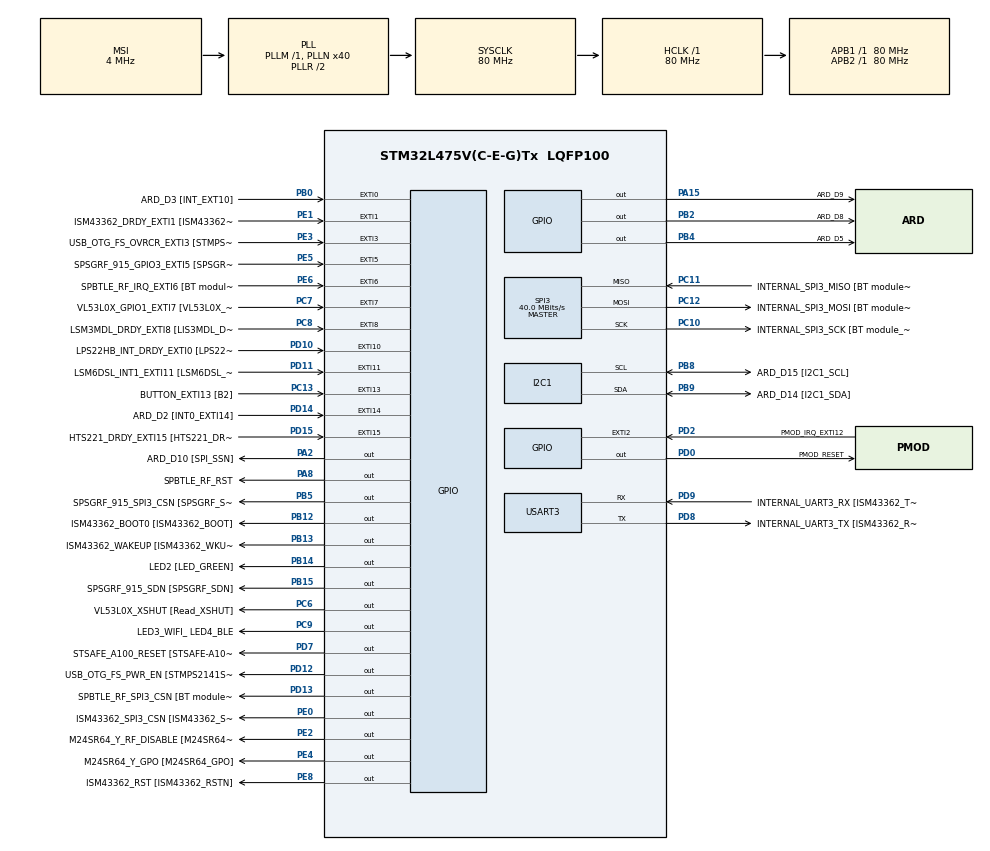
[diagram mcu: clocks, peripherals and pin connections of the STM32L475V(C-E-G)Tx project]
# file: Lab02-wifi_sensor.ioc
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I2C1.Timing=0x10D19CE4
Mcu.Family=STM32L4
Mcu.Name=STM32L475V(C-E-G)Tx
Mcu.Package=LQFP100
NVIC.EXTI15_10_IRQn=true\:0\:0\:false\:false\:true\:true\:true\:true
NVIC.EXTI1_IRQn=true\:0\:0\:false\:false\:true\:true\:true\:true
NVIC.EXTI9_5_IRQn=true\:0\:0\:false\:false\:true\:true\:true\:true
NVIC.PriorityGroup=NVIC_PRIORITYGROUP_4
NVIC.SPI3_IRQn=true\:0\:0\:false\:false\:true\:true\:true\:true
PA0.GPIO_Label=ARD_D1 [UART4_TX]
PA0.Signal=UART4_TX
PA1.GPIO_Label=ARD_D0 [UART4_RX]
PA1.Signal=UART4_RX
PA10.GPIO_Label=USB_OTG_FS_ID
PA10.Signal=USB_OTG_FS_ID
PA11.GPIO_Label=USB_OTG_FS_DM
PA11.Signal=USB_OTG_FS_DM
PA12.GPIO_Label=USB_OTG_FS_DP
PA12.Signal=USB_OTG_FS_DP
PA13\ (JTMS-SWDIO).GPIO_Label=SYS_JTMS_SWDIO
PA13\ (JTMS-SWDIO).Signal=SYS_JTMS-SWDIO
PA14\ (JTCK-SWCLK).GPIO_Label=SYS_JTCK_SWCLK
PA14\ (JTCK-SWCLK).Signal=SYS_JTCK-SWCLK
PA15\ (JTDI).GPIO_Label=ARD_D9
PA15\ (JTDI).Signal=GPIO_Output
PA2.GPIO_Label=ARD_D10 [SPI_SSN]
PA2.Signal=GPIO_Output
PA3.GPIO_Label=ARD_D4
PA3.Signal=S_TIM2_CH4
PA4.GPIO_Label=ARD_D7
PA4.Signal=ADCx_IN9
PA5.GPIO_Label=ARD_D13 [SPI1_SCK]
PA5.Signal=SPI1_SCK
PA6.GPIO_Label=ARD_D12 [SPI1_MISO]
PA6.Signal=SPI1_MISO
PA7.GPIO_Label=ARD_D11 [SPI1_MOSI]
PA7.Signal=SPI1_MOSI
PA8.GPIO_Label=SPBTLE_RF_RST
PA8.Signal=GPIO_Output
PA9.GPIO_Label=USB_OTG_FS_VBUS [STMPS2141STR_OUT]
PA9.Signal=USB_OTG_FS_VBUS
PB0.GPIO_Label=ARD_D3 [INT_EXT10]
PB0.Signal=GPXTI0
PB1.GPIO_Label=ARD_D6 [ADC1_IN6]
PB1.Signal=ADCx_IN16
PB10.GPIO_Label=INTERNAL_I2C2_SCL [VL53L0X_SCL]
PB10.Signal=I2C2_SCL
PB11.GPIO_Label=INTERNAL_I2C2_SDA [VL53L0X_SDA]
PB11.Signal=I2C2_SDA
PB12.GPIO_Label=ISM43362_BOOT0 [ISM43362_BOOT]
PB12.Signal=GPIO_Output
PB13.GPIO_Label=ISM43362_WAKEUP [ISM43362_WKUP]
PB13.Signal=GPIO_Output
PB14.GPIO_Label=LED2 [LED_GREEN]
PB14.Signal=GPIO_Output
PB15.GPIO_Label=SPSGRF_915_SDN [SPSGRF_SDN]
PB15.Signal=GPIO_Output
PB2.GPIO_Label=ARD_D8
PB2.Signal=GPIO_Output
PB3\ (JTDO-TRACESWO).GPIO_Label=SYS_JTD0_SWO
PB3\ (JTDO-TRACESWO).Signal=SYS_JTDO-SWO
PB4\ (NJTRST).GPIO_Label=ARD_D5
PB4\ (NJTRST).Signal=GPIO_Output
PB5.GPIO_Label=SPSGRF_915_SPI3_CSN [SPSGRF_SPI_CS]
PB5.PinState=GPIO_PIN_SET
PB5.Signal=GPIO_Output
PB6.GPIO_Label=ST_LINK_UART1_TX
PB6.Signal=USART1_TX
PB7.GPIO_Label=ST_LINK_UART1_RX
PB7.Signal=USART1_RX
PB8.GPIO_Label=ARD_D15 [I2C1_SCL]
PB8.Mode=I2C
PB8.Signal=I2C1_SCL
PB9.GPIO_Label=ARD_D14 [I2C1_SDA]
PB9.Mode=I2C
PB9.Signal=I2C1_SDA
PC0.GPIO_Label=ARD_A5 [ADC]
PC0.Signal=ADCx_IN1
PC1.GPIO_Label=ARD_A4 [ADC]
PC1.Signal=ADCx_IN2
PC10.GPIO_Label=INTERNAL_SPI3_SCK [BT module_SPI_SCLK] [ISM43362_SCK]
PC10.Mode=Full_Duplex_Master
PC10.Signal=SPI3_SCK
PC11.GPIO_Label=INTERNAL_SPI3_MISO [BT module_SPI_MISO] [ISM43362_MISO]
PC11.Mode=Full_Duplex_Master
PC11.Signal=SPI3_MISO
PC12.GPIO_Label=INTERNAL_SPI3_MOSI [BT module_SPI_MOSI] [ISM43362_MOSI]
PC12.Mode=Full_Duplex_Master
PC12.Signal=SPI3_MOSI
PC13.GPIO_Label=BUTTON_EXTI13 [B2]
PC13.GPIO_ModeDefaultEXTI=GPIO_MODE_IT_FALLING
PC13.GPIO_PuPd=GPIO_NOPULL
PC13.Signal=GPXTI13
PC14-OSC32_IN\ (PC14).Signal=RCC_OSC32_IN
PC15-OSC32_OUT\ (PC15).Signal=RCC_OSC32_OUT
PC2.GPIO_Label=ARD_A3 [ADC]
PC2.Signal=ADCx_IN3
PC3.GPIO_Label=ARD_A2 [ADC]
PC3.Signal=ADCx_IN4
PC4.GPIO_Label=ARD_A1 [ADC]
PC4.Signal=ADCx_IN13
PC5.GPIO_Label=ARD_A0 [ADC]
PC5.Signal=ADCx_IN14
PC6.GPIO_Label=VL53L0X_XSHUT [Read_XSHUT]
PC6.Signal=GPIO_Output
PC7.GPIO_Label=VL53L0X_GPIO1_EXTI7 [VL53L0X_GPIO1]
PC7.Signal=GPXTI7
PC8.GPIO_Label=LSM3MDL_DRDY_EXTI8 [LIS3MDL_DRDY]
PC8.Signal=GPXTI8
PC9.GPIO_Label=LED3_WIFI_ LED4_BLE
PC9.Signal=GPIO_Output
PD0.GPIO_Label=PMOD_RESET
PD0.Signal=GPIO_Output
PD1.GPIO_Label=PMOD_SPI2_SCK
PD1.Signal=SPI2_SCK
PD10.GPIO_Label=LPS22HB_INT_DRDY_EXTI0 [LPS22HB_INT_DRDY] 
PD10.Signal=GPXTI10
PD11.GPIO_Label=LSM6DSL_INT1_EXTI11 [LSM6DSL_INT1]
PD11.Signal=GPXTI11
PD12.GPIO_Label=USB_OTG_FS_PWR_EN [STMPS2141STR_EN]
PD12.Signal=GPIO_Output
PD13.GPIO_Label=SPBTLE_RF_SPI3_CSN [BT module_SPI_CS]
PD13.PinState=GPIO_PIN_SET
PD13.Signal=GPIO_Output
PD14.GPIO_Label=ARD_D2 [INT0_EXTI14]
PD14.Signal=GPXTI14
PD15.GPIO_Label=HTS221_DRDY_EXTI15 [HTS221_DRDY]
PD15.Signal=GPXTI15
PD2.GPIO_Label=PMOD_IRQ_EXTI12
PD2.Signal=GPXTI2
PD3.GPIO_Label=PMOD_UART2_CTS
PD3.Signal=USART2_CTS
PD4.GPIO_Label=PMOD_UART2_RTS
PD4.Signal=USART2_RTS
PD5.GPIO_Label=PMOD_UART2_TX
PD5.Signal=USART2_TX
PD6.GPIO_Label=PMOD_UART2_RX
PD6.Signal=USART2_RX
PD7.GPIO_Label=STSAFE_A100_RESET [STSAFE-A100_RESET]
PD7.Signal=GPIO_Output
PD8.GPIO_Label=INTERNAL_UART3_TX [ISM43362_RX]
PD8.Mode=Asynchronous
PD8.Signal=USART3_TX
PD9.GPIO_Label=INTERNAL_UART3_RX [ISM43362_TX]
PD9.Mode=Asynchronous
PD9.Signal=USART3_RX
PE0.GPIO_Label=ISM43362_SPI3_CSN [ISM43362_SSN]
PE0.PinState=GPIO_PIN_SET
PE0.Signal=GPIO_Output
PE1.GPIO_Label=ISM43362_DRDY_EXTI1 [ISM43362_DATARDY]
PE1.Signal=GPXTI1
PE10.GPIO_Label=QUADSPI_CLK [MX25R6435F_SCLK]
PE10.Signal=QUADSPI_CLK
PE11.GPIO_Label=QUADSPI_NCS [MX25R6435F_SCLK]
PE11.Signal=QUADSPI_NCS
PE12.GPIO_Label=OQUADSPI_BK1_IO0 [MX25R6435F_IO0]
PE12.Signal=QUADSPI_BK1_IO0
PE13.GPIO_Label=QUADSPI_BK1_IO1 [MX25R6435F_IO1]
PE13.Signal=QUADSPI_BK1_IO1
PE14.GPIO_Label=QUAD_SPI_BK1_IO2 [MX25R6435F_IO2]
PE14.Signal=QUADSPI_BK1_IO2
PE15.GPIO_Label=QUAD_SPI_BK1_IO3 [MX25R6435F_IO3]
PE15.Signal=QUADSPI_BK1_IO3
PE2.GPIO_Label=M24SR64_Y_RF_DISABLE [M24SR64_RFDIS]
PE2.Signal=GPIO_Output
PE3.GPIO_Label=USB_OTG_FS_OVRCR_EXTI3 [STMPS2141STR_FAULT]
PE3.Signal=GPXTI3
PE4.GPIO_Label=M24SR64_Y_GPO [M24SR64_GPO]
PE4.Signal=GPIO_Output
PE5.GPIO_Label=SPSGRF_915_GPIO3_EXTI5 [SPSGRF_GPIO_3]
PE5.Signal=GPXTI5
PE6.GPIO_Label=SPBTLE_RF_IRQ_EXTI6 [BT module_SPI_IRQ]
PE6.Signal=GPXTI6
PE7.GPIO_Label=DFSDM1_DATIN2 [MP34DT01_DOUT]
PE7.Signal=S_DATAIN2DFSDM1
PE8.GPIO_Label=ISM43362_RST [ISM43362_RSTN]
PE8.Signal=GPIO_Output
PE9.GPIO_Label=DFSDM1_CKOUT [MP34DT01_CLK]
PE9.Signal=S_CKOUTDFSDM1
ProjectManager.HeapSize=0x200
ProjectManager.StackSize=0x400
ProjectManager.TargetToolchain=STM32CubeIDE
RCC.ADCFreq_Value=48000000
RCC.AHBFreq_Value=80000000
RCC.APB1Freq_Value=80000000
RCC.APB1TimFreq_Value=80000000
RCC.APB2Freq_Value=80000000
RCC.APB2TimFreq_Value=80000000
RCC.CortexFreq_Value=80000000
RCC.HCLKFreq_Value=80000000
RCC.HSE_VALUE=8000000
RCC.HSI_VALUE=16000000
RCC.LSE_VALUE=32768
RCC.MSI_VALUE=4000000
RCC.PLLN=40
RCC.PLLSAI1N=24
RCC.SYSCLKFreq_VALUE=80000000
RCC.SYSCLKSource=RCC_SYSCLKSOURCE_PLLCLK
RCC.USBFreq_Value=48000000
RCC.VCOOutputFreq_Value=160000000
SH.ADCx_IN1.0=ADC1_IN1
SH.ADCx_IN13.0=ADC1_IN13
SH.ADCx_IN14.0=ADC1_IN14
SH.ADCx_IN16.0=ADC1_IN16
SH.ADCx_IN2.0=ADC1_IN2
SH.ADCx_IN3.0=ADC1_IN3
SH.ADCx_IN4.0=ADC1_IN4
SH.ADCx_IN9.0=ADC1_IN9
SH.S_CKOUTDFSDM1.0=DFSDM1_CKOUT
SH.S_DATAIN2DFSDM1.0=DFSDM1_DATIN2
SH.S_TIM2_CH4.0=TIM2_CH4
SPI3.CalculateBaudRate=40.0 MBits/s
SPI3.Direction=SPI_DIRECTION_2LINES
SPI3.Mode=SPI_MODE_MASTER
SPI3.VirtualType=VM_MASTER
USART3.VirtualMode-Asynchronous=VM_ASYNC
board=B-L475E-IOT01A2

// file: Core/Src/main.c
/* USER CODE BEGIN Header */
/**
  ******************************************************************************
  * @file           : main.c
  * @brief          : Main program body
  ******************************************************************************
  * @attention
  *
  * Copyright (c) 2025 STMicroelectronics.
  * All rights reserved.
  *
  * This software is licensed under terms that can be found in the LICENSE file
  * in the root directory of this software component.
  * If no LICENSE file comes with this software, it is provided AS-IS.
  *
  ******************************************************************************
  */
/* USER CODE END Header */
#include "main.h"

/* USER CODE BEGIN PD */
#define TERMINAL_USE
#define SSID     "sallen"
#define PASSWORD "b0c6d1e3"

uint8_t button = 0;
uint8_t wifi_status = -1;
uint8_t RemoteIP[] = {192,168,185,242};
#define RemotePORT	8080

#define WIFI_WRITE_TIMEOUT 10000
#define WIFI_READ_TIMEOUT  10000

#define CONNECTION_TRIAL_MAX          10

#if defined (TERMINAL_USE)
#define TERMOUT(...)  printf(__VA_ARGS__)
#else
#define TERMOUT(...)
#endif

#if defined (TERMINAL_USE)
extern UART_HandleTypeDef hDiscoUart;
#endif /* TERMINAL_USE */
static uint8_t RxData [500];

#if defined (TERMINAL_USE)
#ifdef __GNUC__
/* With GCC, small TERMOUT (option LD Linker->Libraries->Small TERMOUT
   set to 'Yes') calls __io_putchar() */
#define PUTCHAR_PROTOTYPE int __io_putchar(int ch)
#else
#define PUTCHAR_PROTOTYPE int fputc(int ch, FILE *f)
#endif /* __GNUC__ */
#endif /* TERMINAL_USE */
/* USER CODE END PD */

I2C_HandleTypeDef hi2c1;

SPI_HandleTypeDef hspi3;

UART_HandleTypeDef huart3;

void SystemClock_Config(void);
static void MX_GPIO_Init(void);
static void MX_SPI3_Init(void);
static void MX_USART3_UART_Init(void);
static void MX_I2C1_Init(void);

int main(void)
{

  /* USER CODE BEGIN 1 */

	  uint8_t  MAC_Addr[6] = {0};
	  uint8_t  IP_Addr[4] = {0};
	  uint8_t TxData[] = "STM32 : Hello!\n";
	  int32_t Socket = -1;
	  uint16_t Datalen;
	  int32_t ret;
	  int16_t Trials = CONNECTION_TRIAL_MAX;
  /* USER CODE END 1 */

  /* MCU Configuration--------------------------------------------------------*/

  /* Reset of all peripherals, Initializes the Flash interface and the Systick. */
  HAL_Init();

  /* Configure the system clock */
  SystemClock_Config();

  /* Initialize all configured peripherals */
  MX_GPIO_Init();
  MX_SPI3_Init();
  MX_USART3_UART_Init();
  MX_I2C1_Init();
  /* USER CODE BEGIN 2 */

  BSP_LED_Init(LED2);

#if defined (TERMINAL_USE)
  /* Initialize all configured peripherals */
  hDiscoUart.Instance = DISCOVERY_COM1;
  hDiscoUart.Init.BaudRate = 115200;
  hDiscoUart.Init.WordLength = UART_WORDLENGTH_8B;
  hDiscoUart.Init.StopBits = UART_STOPBITS_1;
  hDiscoUart.Init.Parity = UART_PARITY_NONE;
  hDiscoUart.Init.Mode = UART_MODE_TX_RX;
  hDiscoUart.Init.HwFlowCtl = UART_HWCONTROL_NONE;
  hDiscoUart.Init.OverSampling = UART_OVERSAMPLING_16;
  hDiscoUart.Init.OneBitSampling = UART_ONE_BIT_SAMPLE_DISABLE;
  hDiscoUart.AdvancedInit.AdvFeatureInit = UART_ADVFEATURE_NO_INIT;

  BSP_COM_Init(COM1, &hDiscoUart);
#endif /* TERMINAL_USE */

  wifi_status = 'n';
  wifi_status = WIFI_Init();
  wifi_status = 'y';
  /* USER CODE END 2 */

  /* Infinite loop */
  while (1)
  {

  }
}

void SystemClock_Config(void)
{
  RCC_OscInitTypeDef RCC_OscInitStruct = {0};
  RCC_ClkInitTypeDef RCC_ClkInitStruct = {0};

  /** Configure the main internal regulator output voltage
  */
  if (HAL_PWREx_ControlVoltageScaling(PWR_REGULATOR_VOLTAGE_SCALE1) != HAL_OK)
  {
    Error_Handler();
  }

  /** Initializes the RCC Oscillators according to the specified parameters
  * in the RCC_OscInitTypeDef structure.
  */
  RCC_OscInitStruct.OscillatorType = RCC_OSCILLATORTYPE_MSI;
  RCC_OscInitStruct.MSIState = RCC_MSI_ON;
  RCC_OscInitStruct.MSICalibrationValue = 0;
  RCC_OscInitStruct.MSIClockRange = RCC_MSIRANGE_6;
  RCC_OscInitStruct.PLL.PLLState = RCC_PLL_ON;
  RCC_OscInitStruct.PLL.PLLSource = RCC_PLLSOURCE_MSI;
  RCC_OscInitStruct.PLL.PLLM = 1;
  RCC_OscInitStruct.PLL.PLLN = 40;
  RCC_OscInitStruct.PLL.PLLP = RCC_PLLP_DIV7;
  RCC_OscInitStruct.PLL.PLLQ = RCC_PLLQ_DIV2;
  RCC_OscInitStruct.PLL.PLLR = RCC_PLLR_DIV2;
  if (HAL_RCC_OscConfig(&RCC_OscInitStruct) != HAL_OK)
  {
    Error_Handler();
  }

  /** Initializes the CPU, AHB and APB buses clocks
  */
  RCC_ClkInitStruct.ClockType = RCC_CLOCKTYPE_HCLK|RCC_CLOCKTYPE_SYSCLK
                              |RCC_CLOCKTYPE_PCLK1|RCC_CLOCKTYPE_PCLK2;
  RCC_ClkInitStruct.SYSCLKSource = RCC_SYSCLKSOURCE_PLLCLK;
  RCC_ClkInitStruct.AHBCLKDivider = RCC_SYSCLK_DIV1;
  RCC_ClkInitStruct.APB1CLKDivider = RCC_HCLK_DIV1;
  RCC_ClkInitStruct.APB2CLKDivider = RCC_HCLK_DIV1;

  if (HAL_RCC_ClockConfig(&RCC_ClkInitStruct, FLASH_LATENCY_4) != HAL_OK)
  {
    Error_Handler();
  }
}

static void MX_I2C1_Init(void)
{

  hi2c1.Instance = I2C1;
  hi2c1.Init.Timing = 0x10D19CE4;
  hi2c1.Init.OwnAddress1 = 0;
  hi2c1.Init.AddressingMode = I2C_ADDRESSINGMODE_7BIT;
  hi2c1.Init.DualAddressMode = I2C_DUALADDRESS_DISABLE;
  hi2c1.Init.OwnAddress2 = 0;
  hi2c1.Init.OwnAddress2Masks = I2C_OA2_NOMASK;
  hi2c1.Init.GeneralCallMode = I2C_GENERALCALL_DISABLE;
  hi2c1.Init.NoStretchMode = I2C_NOSTRETCH_DISABLE;
  if (HAL_I2C_Init(&hi2c1) != HAL_OK)
  {
    Error_Handler();
  }

  /** Configure Analogue filter
  */
  if (HAL_I2CEx_ConfigAnalogFilter(&hi2c1, I2C_ANALOGFILTER_ENABLE) != HAL_OK)
  {
    Error_Handler();
  }

  /** Configure Digital filter
  */
  if (HAL_I2CEx_ConfigDigitalFilter(&hi2c1, 0) != HAL_OK)
  {
    Error_Handler();
  }

}

static void MX_SPI3_Init(void)
{

  /* SPI3 parameter configuration*/
  hspi3.Instance = SPI3;
  hspi3.Init.Mode = SPI_MODE_MASTER;
  hspi3.Init.Direction = SPI_DIRECTION_2LINES;
  hspi3.Init.DataSize = SPI_DATASIZE_4BIT;
  hspi3.Init.CLKPolarity = SPI_POLARITY_LOW;
  hspi3.Init.CLKPhase = SPI_PHASE_1EDGE;
  hspi3.Init.NSS = SPI_NSS_SOFT;
  hspi3.Init.BaudRatePrescaler = SPI_BAUDRATEPRESCALER_2;
  hspi3.Init.FirstBit = SPI_FIRSTBIT_MSB;
  hspi3.Init.TIMode = SPI_TIMODE_DISABLE;
  hspi3.Init.CRCCalculation = SPI_CRCCALCULATION_DISABLE;
  hspi3.Init.CRCPolynomial = 7;
  hspi3.Init.CRCLength = SPI_CRC_LENGTH_DATASIZE;
  hspi3.Init.NSSPMode = SPI_NSS_PULSE_ENABLE;
  if (HAL_SPI_Init(&hspi3) != HAL_OK)
  {
    Error_Handler();
  }

}

static void MX_USART3_UART_Init(void)
{

  huart3.Instance = USART3;
  huart3.Init.BaudRate = 115200;
  huart3.Init.WordLength = UART_WORDLENGTH_8B;
  huart3.Init.StopBits = UART_STOPBITS_1;
  huart3.Init.Parity = UART_PARITY_NONE;
  huart3.Init.Mode = UART_MODE_TX_RX;
  huart3.Init.HwFlowCtl = UART_HWCONTROL_NONE;
  huart3.Init.OverSampling = UART_OVERSAMPLING_16;
  huart3.Init.OneBitSampling = UART_ONE_BIT_SAMPLE_DISABLE;
  huart3.AdvancedInit.AdvFeatureInit = UART_ADVFEATURE_NO_INIT;
  if (HAL_UART_Init(&huart3) != HAL_OK)
  {
    Error_Handler();
  }

}

static void MX_GPIO_Init(void)
{
  GPIO_InitTypeDef GPIO_InitStruct = {0};

  /* GPIO Ports Clock Enable */
  __HAL_RCC_GPIOE_CLK_ENABLE();
  __HAL_RCC_GPIOC_CLK_ENABLE();
  __HAL_RCC_GPIOA_CLK_ENABLE();
  __HAL_RCC_GPIOB_CLK_ENABLE();
  __HAL_RCC_GPIOD_CLK_ENABLE();

  /*Configure GPIO pin Output Level */
  HAL_GPIO_WritePin(GPIOE, M24SR64_Y_RF_DISABLE_Pin|M24SR64_Y_GPO_Pin|ISM43362_RST_Pin, GPIO_PIN_RESET);

  /*Configure GPIO pin Output Level */
  HAL_GPIO_WritePin(GPIOA, ARD_D10_Pin|SPBTLE_RF_RST_Pin|ARD_D9_Pin, GPIO_PIN_RESET);

  /*Configure GPIO pin Output Level */
  HAL_GPIO_WritePin(GPIOB, ARD_D8_Pin|ISM43362_BOOT0_Pin|ISM43362_WAKEUP_Pin|LED2_Pin
                          |SPSGRF_915_SDN_Pin|ARD_D5_Pin, GPIO_PIN_RESET);

  /*Configure GPIO pin Output Level */
  HAL_GPIO_WritePin(GPIOD, USB_OTG_FS_PWR_EN_Pin|PMOD_RESET_Pin|STSAFE_A100_RESET_Pin, GPIO_PIN_RESET);

  /*Configure GPIO pin Output Level */
  HAL_GPIO_WritePin(SPBTLE_RF_SPI3_CSN_GPIO_Port, SPBTLE_RF_SPI3_CSN_Pin, GPIO_PIN_SET);

  /*Configure GPIO pin Output Level */
  HAL_GPIO_WritePin(GPIOC, VL53L0X_XSHUT_Pin|LED3_WIFI__LED4_BLE_Pin, GPIO_PIN_RESET);

  /*Configure GPIO pin Output Level */
  HAL_GPIO_WritePin(SPSGRF_915_SPI3_CSN_GPIO_Port, SPSGRF_915_SPI3_CSN_Pin, GPIO_PIN_SET);

  /*Configure GPIO pin Output Level */
  HAL_GPIO_WritePin(ISM43362_SPI3_CSN_GPIO_Port, ISM43362_SPI3_CSN_Pin, GPIO_PIN_SET);

  /*Configure GPIO pins : M24SR64_Y_RF_DISABLE_Pin M24SR64_Y_GPO_Pin ISM43362_RST_Pin ISM43362_SPI3_CSN_Pin */
  GPIO_InitStruct.Pin = M24SR64_Y_RF_DISABLE_Pin|M24SR64_Y_GPO_Pin|ISM43362_RST_Pin|ISM43362_SPI3_CSN_Pin;
  GPIO_InitStruct.Mode = GPIO_MODE_OUTPUT_PP;
  GPIO_InitStruct.Pull = GPIO_NOPULL;
  GPIO_InitStruct.Speed = GPIO_SPEED_FREQ_LOW;
  HAL_GPIO_Init(GPIOE, &GPIO_InitStruct);

  /*Configure GPIO pins : USB_OTG_FS_OVRCR_EXTI3_Pin SPSGRF_915_GPIO3_EXTI5_Pin SPBTLE_RF_IRQ_EXTI6_Pin ISM43362_DRDY_EXTI1_Pin */
  GPIO_InitStruct.Pin = USB_OTG_FS_OVRCR_EXTI3_Pin|SPSGRF_915_GPIO3_EXTI5_Pin|SPBTLE_RF_IRQ_EXTI6_Pin|ISM43362_DRDY_EXTI1_Pin;
  GPIO_InitStruct.Mode = GPIO_MODE_IT_RISING;
  GPIO_InitStruct.Pull = GPIO_NOPULL;
  HAL_GPIO_Init(GPIOE, &GPIO_InitStruct);

  /*Configure GPIO pin : BUTTON_EXTI13_Pin */
  GPIO_InitStruct.Pin = BUTTON_EXTI13_Pin;
  GPIO_InitStruct.Mode = GPIO_MODE_IT_FALLING;
  GPIO_InitStruct.Pull = GPIO_NOPULL;
  HAL_GPIO_Init(BUTTON_EXTI13_GPIO_Port, &GPIO_InitStruct);

  /*Configure GPIO pins : ARD_A5_Pin ARD_A4_Pin ARD_A3_Pin ARD_A2_Pin
                           ARD_A1_Pin ARD_A0_Pin */
  GPIO_InitStruct.Pin = ARD_A5_Pin|ARD_A4_Pin|ARD_A3_Pin|ARD_A2_Pin
                          |ARD_A1_Pin|ARD_A0_Pin;
  GPIO_InitStruct.Mode = GPIO_MODE_ANALOG_ADC_CONTROL;
  GPIO_InitStruct.Pull = GPIO_NOPULL;
  HAL_GPIO_Init(GPIOC, &GPIO_InitStruct);

  /*Configure GPIO pins : ARD_D1_Pin ARD_D0_Pin */
  GPIO_InitStruct.Pin = ARD_D1_Pin|ARD_D0_Pin;
  GPIO_InitStruct.Mode = GPIO_MODE_AF_PP;
  GPIO_InitStruct.Pull = GPIO_NOPULL;
  GPIO_InitStruct.Speed = GPIO_SPEED_FREQ_VERY_HIGH;
  GPIO_InitStruct.Alternate = GPIO_AF8_UART4;
  HAL_GPIO_Init(GPIOA, &GPIO_InitStruct);

  /*Configure GPIO pins : ARD_D10_Pin SPBTLE_RF_RST_Pin ARD_D9_Pin */
  GPIO_InitStruct.Pin = ARD_D10_Pin|SPBTLE_RF_RST_Pin|ARD_D9_Pin;
  GPIO_InitStruct.Mode = GPIO_MODE_OUTPUT_PP;
  GPIO_InitStruct.Pull = GPIO_NOPULL;
  GPIO_InitStruct.Speed = GPIO_SPEED_FREQ_LOW;
  HAL_GPIO_Init(GPIOA, &GPIO_InitStruct);

  /*Configure GPIO pin : ARD_D4_Pin */
  GPIO_InitStruct.Pin = ARD_D4_Pin;
  GPIO_InitStruct.Mode = GPIO_MODE_AF_PP;
  GPIO_InitStruct.Pull = GPIO_NOPULL;
  GPIO_InitStruct.Speed = GPIO_SPEED_FREQ_LOW;
  GPIO_InitStruct.Alternate = GPIO_AF1_TIM2;
  HAL_GPIO_Init(ARD_D4_GPIO_Port, &GPIO_InitStruct);

  /*Configure GPIO pin : ARD_D7_Pin */
  GPIO_InitStruct.Pin = ARD_D7_Pin;
  GPIO_InitStruct.Mode = GPIO_MODE_ANALOG_ADC_CONTROL;
  GPIO_InitStruct.Pull = GPIO_NOPULL;
  HAL_GPIO_Init(ARD_D7_GPIO_Port, &GPIO_InitStruct);

  /*Configure GPIO pins : ARD_D13_Pin ARD_D12_Pin ARD_D11_Pin */
  GPIO_InitStruct.Pin = ARD_D13_Pin|ARD_D12_Pin|ARD_D11_Pin;
  GPIO_InitStruct.Mode = GPIO_MODE_AF_PP;
  GPIO_InitStruct.Pull = GPIO_NOPULL;
  GPIO_InitStruct.Speed = GPIO_SPEED_FREQ_VERY_HIGH;
  GPIO_InitStruct.Alternate = GPIO_AF5_SPI1;
  HAL_GPIO_Init(GPIOA, &GPIO_InitStruct);

  /*Configure GPIO pin : ARD_D3_Pin */
  GPIO_InitStruct.Pin = ARD_D3_Pin;
  GPIO_InitStruct.Mode = GPIO_MODE_IT_RISING;
  GPIO_InitStruct.Pull = GPIO_NOPULL;
  HAL_GPIO_Init(ARD_D3_GPIO_Port, &GPIO_InitStruct);

  /*Configure GPIO pin : ARD_D6_Pin */
  GPIO_InitStruct.Pin = ARD_D6_Pin;
  GPIO_InitStruct.Mode = GPIO_MODE_ANALOG_ADC_CONTROL;
  GPIO_InitStruct.Pull = GPIO_NOPULL;
  HAL_GPIO_Init(ARD_D6_GPIO_Port, &GPIO_InitStruct);

  /*Configure GPIO pins : ARD_D8_Pin ISM43362_BOOT0_Pin ISM43362_WAKEUP_Pin LED2_Pin
                           SPSGRF_915_SDN_Pin ARD_D5_Pin SPSGRF_915_SPI3_CSN_Pin */
  GPIO_InitStruct.Pin = ARD_D8_Pin|ISM43362_BOOT0_Pin|ISM43362_WAKEUP_Pin|LED2_Pin
                          |SPSGRF_915_SDN_Pin|ARD_D5_Pin|SPSGRF_915_SPI3_CSN_Pin;
  GPIO_InitStruct.Mode = GPIO_MODE_OUTPUT_PP;
  GPIO_InitStruct.Pull = GPIO_NOPULL;
  GPIO_InitStruct.Speed = GPIO_SPEED_FREQ_LOW;
  HAL_GPIO_Init(GPIOB, &GPIO_InitStruct);

  /*Configure GPIO pins : DFSDM1_DATIN2_Pin DFSDM1_CKOUT_Pin */
  GPIO_InitStruct.Pin = DFSDM1_DATIN2_Pin|DFSDM1_CKOUT_Pin;
  GPIO_InitStruct.Mode = GPIO_MODE_AF_PP;
  GPIO_InitStruct.Pull = GPIO_NOPULL;
  GPIO_InitStruct.Speed = GPIO_SPEED_FREQ_LOW;
  GPIO_InitStruct.Alternate = GPIO_AF6_DFSDM1;
  HAL_GPIO_Init(GPIOE, &GPIO_InitStruct);

  /*Configure GPIO pins : QUADSPI_CLK_Pin QUADSPI_NCS_Pin OQUADSPI_BK1_IO0_Pin QUADSPI_BK1_IO1_Pin
                           QUAD_SPI_BK1_IO2_Pin QUAD_SPI_BK1_IO3_Pin */
  GPIO_InitStruct.Pin = QUADSPI_CLK_Pin|QUADSPI_NCS_Pin|OQUADSPI_BK1_IO0_Pin|QUADSPI_BK1_IO1_Pin
                          |QUAD_SPI_BK1_IO2_Pin|QUAD_SPI_BK1_IO3_Pin;
  GPIO_InitStruct.Mode = GPIO_MODE_AF_PP;
  GPIO_InitStruct.Pull = GPIO_NOPULL;
  GPIO_InitStruct.Speed = GPIO_SPEED_FREQ_VERY_HIGH;
  GPIO_InitStruct.Alternate = GPIO_AF10_QUADSPI;
  HAL_GPIO_Init(GPIOE, &GPIO_InitStruct);

  /*Configure GPIO pins : INTERNAL_I2C2_SCL_Pin INTERNAL_I2C2_SDA_Pin */
  GPIO_InitStruct.Pin = INTERNAL_I2C2_SCL_Pin|INTERNAL_I2C2_SDA_Pin;
  GPIO_InitStruct.Mode = GPIO_MODE_AF_OD;
  GPIO_InitStruct.Pull = GPIO_NOPULL;
  GPIO_InitStruct.Speed = GPIO_SPEED_FREQ_VERY_HIGH;
  GPIO_InitStruct.Alternate = GPIO_AF4_I2C2;
  HAL_GPIO_Init(GPIOB, &GPIO_InitStruct);

  /*Configure GPIO pins : LPS22HB_INT_DRDY_EXTI0_Pin LSM6DSL_INT1_EXTI11_Pin ARD_D2_Pin HTS221_DRDY_EXTI15_Pin
                           PMOD_IRQ_EXTI12_Pin */
  GPIO_InitStruct.Pin = LPS22HB_INT_DRDY_EXTI0_Pin|LSM6DSL_INT1_EXTI11_Pin|ARD_D2_Pin|HTS221_DRDY_EXTI15_Pin
                          |PMOD_IRQ_EXTI12_Pin;
  GPIO_InitStruct.Mode = GPIO_MODE_IT_RISING;
  GPIO_InitStruct.Pull = GPIO_NOPULL;
  HAL_GPIO_Init(GPIOD, &GPIO_InitStruct);

  /*Configure GPIO pins : USB_OTG_FS_PWR_EN_Pin SPBTLE_RF_SPI3_CSN_Pin PMOD_RESET_Pin STSAFE_A100_RESET_Pin */
  GPIO_InitStruct.Pin = USB_OTG_FS_PWR_EN_Pin|SPBTLE_RF_SPI3_CSN_Pin|PMOD_RESET_Pin|STSAFE_A100_RESET_Pin;
  GPIO_InitStruct.Mode = GPIO_MODE_OUTPUT_PP;
  GPIO_InitStruct.Pull = GPIO_NOPULL;
  GPIO_InitStruct.Speed = GPIO_SPEED_FREQ_LOW;
  HAL_GPIO_Init(GPIOD, &GPIO_InitStruct);

  /*Configure GPIO pins : VL53L0X_XSHUT_Pin LED3_WIFI__LED4_BLE_Pin */
  GPIO_InitStruct.Pin = VL53L0X_XSHUT_Pin|LED3_WIFI__LED4_BLE_Pin;
  GPIO_InitStruct.Mode = GPIO_MODE_OUTPUT_PP;
  GPIO_InitStruct.Pull = GPIO_NOPULL;
  GPIO_InitStruct.Speed = GPIO_SPEED_FREQ_LOW;
  HAL_GPIO_Init(GPIOC, &GPIO_InitStruct);

  /*Configure GPIO pins : VL53L0X_GPIO1_EXTI7_Pin LSM3MDL_DRDY_EXTI8_Pin */
  GPIO_InitStruct.Pin = VL53L0X_GPIO1_EXTI7_Pin|LSM3MDL_DRDY_EXTI8_Pin;
  GPIO_InitStruct.Mode = GPIO_MODE_IT_RISING;
  GPIO_InitStruct.Pull = GPIO_NOPULL;
  HAL_GPIO_Init(GPIOC, &GPIO_InitStruct);

  /*Configure GPIO pin : USB_OTG_FS_VBUS_Pin */
  GPIO_InitStruct.Pin = USB_OTG_FS_VBUS_Pin;
  GPIO_InitStruct.Mode = GPIO_MODE_INPUT;
  GPIO_InitStruct.Pull = GPIO_NOPULL;
  HAL_GPIO_Init(USB_OTG_FS_VBUS_GPIO_Port, &GPIO_InitStruct);

  /*Configure GPIO pins : USB_OTG_FS_ID_Pin USB_OTG_FS_DM_Pin USB_OTG_FS_DP_Pin */
  GPIO_InitStruct.Pin = USB_OTG_FS_ID_Pin|USB_OTG_FS_DM_Pin|USB_OTG_FS_DP_Pin;
  GPIO_InitStruct.Mode = GPIO_MODE_AF_PP;
  GPIO_InitStruct.Pull = GPIO_NOPULL;
  GPIO_InitStruct.Speed = GPIO_SPEED_FREQ_VERY_HIGH;
  GPIO_InitStruct.Alternate = GPIO_AF10_OTG_FS;
  HAL_GPIO_Init(GPIOA, &GPIO_InitStruct);

  /*Configure GPIO pin : PMOD_SPI2_SCK_Pin */
  GPIO_InitStruct.Pin = PMOD_SPI2_SCK_Pin;
  GPIO_InitStruct.Mode = GPIO_MODE_AF_PP;
  GPIO_InitStruct.Pull = GPIO_NOPULL;
  GPIO_InitStruct.Speed = GPIO_SPEED_FREQ_VERY_HIGH;
  GPIO_InitStruct.Alternate = GPIO_AF5_SPI2;
  HAL_GPIO_Init(PMOD_SPI2_SCK_GPIO_Port, &GPIO_InitStruct);

  /*Configure GPIO pins : PMOD_UART2_CTS_Pin PMOD_UART2_RTS_Pin PMOD_UART2_TX_Pin PMOD_UART2_RX_Pin */
  GPIO_InitStruct.Pin = PMOD_UART2_CTS_Pin|PMOD_UART2_RTS_Pin|PMOD_UART2_TX_Pin|PMOD_UART2_RX_Pin;
  GPIO_InitStruct.Mode = GPIO_MODE_AF_PP;
  GPIO_InitStruct.Pull = GPIO_NOPULL;
  GPIO_InitStruct.Speed = GPIO_SPEED_FREQ_VERY_HIGH;
  GPIO_InitStruct.Alternate = GPIO_AF7_USART2;
  HAL_GPIO_Init(GPIOD, &GPIO_InitStruct);

  /*Configure GPIO pins : ST_LINK_UART1_TX_Pin ST_LINK_UART1_RX_Pin */
  GPIO_InitStruct.Pin = ST_LINK_UART1_TX_Pin|ST_LINK_UART1_RX_Pin;
  GPIO_InitStruct.Mode = GPIO_MODE_AF_PP;
  GPIO_InitStruct.Pull = GPIO_NOPULL;
  GPIO_InitStruct.Speed = GPIO_SPEED_FREQ_VERY_HIGH;
  GPIO_InitStruct.Alternate = GPIO_AF7_USART1;
  HAL_GPIO_Init(GPIOB, &GPIO_InitStruct);

  /* EXTI interrupt init*/
  HAL_NVIC_SetPriority(EXTI1_IRQn, 0, 0);
  HAL_NVIC_EnableIRQ(EXTI1_IRQn);

  HAL_NVIC_SetPriority(EXTI9_5_IRQn, 0, 0);
  HAL_NVIC_EnableIRQ(EXTI9_5_IRQn);

  HAL_NVIC_SetPriority(EXTI15_10_IRQn, 0, 0);
  HAL_NVIC_EnableIRQ(EXTI15_10_IRQn);

}

/* USER CODE BEGIN 4 */

void HAL_GPIO_EXTI_Callback(uint16_t GPIO_Pin)
{
  switch (GPIO_Pin)
  {
    case (GPIO_PIN_1):
    {
      SPI_WIFI_ISR();
      break;
    }
    case (GPIO_PIN_13):
	{
    	button = 1;
    	break;
	}
    default:
    {
      break;
    }
  }
}
/* USER CODE END 4 */

void Error_Handler(void)
{
  __disable_irq();
  while (1)
  {
  }
}
